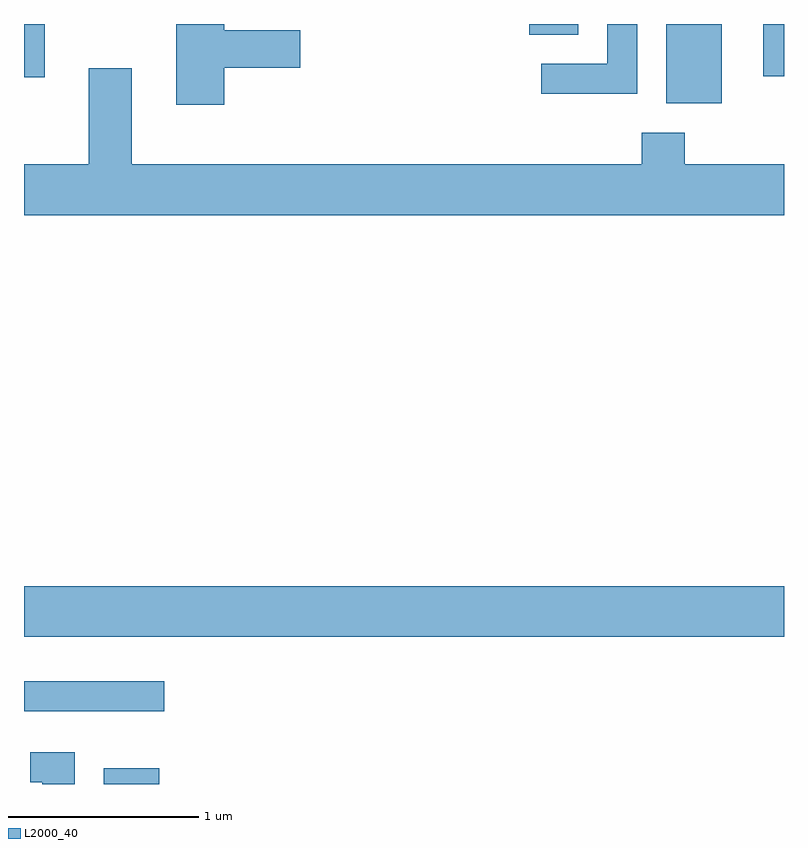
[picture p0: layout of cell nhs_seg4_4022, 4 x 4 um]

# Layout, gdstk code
import gdstk
lib = gdstk.Library(unit=1e-6, precision=1e-09)
def R(c, l, rs):  # rectangles x0, y0, x1, y1
    for r in rs: c.add(gdstk.rectangle(r[:2], r[2:], *l))
def P(c, l, *ps):  # polygons
    for p in ps: c.add(gdstk.Polygon(p, *l))
L2000_40 = (2000, 40)

nhs_seg4_4022 = lib.new_cell('nhs_seg4_4022')
R(nhs_seg4_4022, L2000_40, [(304.031,1273.982,304.324,1274.064), (303.611,1274.366,304.348,1274.524), (303.611,1274.756,307.611,1275.024), (306.991,1277.566,307.284,1277.982), (303.611,1277.701,303.719,1277.982), (307.501,1277.708,307.611,1277.982), (306.271,1277.926,306.529,1277.982)])
P(nhs_seg4_4022, L2000_40, [(304.664,1277.751),(305.064,1277.751),(305.064,1277.949),(304.664,1277.949),(304.664,1277.982),(304.411,1277.982),(304.411,1277.556),(304.664,1277.556)],
  [(306.839,1277.982),(306.681,1277.982),(306.681,1277.774),(306.333,1277.774),(306.333,1277.616),(306.839,1277.616)],
  [(307.611,1277.244),(307.089,1277.244),(307.089,1277.409),(306.861,1277.409),(306.861,1277.244),(304.179,1277.244),(304.179,1277.749),(303.951,1277.749),(303.951,1277.244),(303.611,1277.244),(303.611,1276.976),(307.611,1276.976)],
  [(303.879,1274.149),(303.643,1274.149),(303.643,1273.991),(303.706,1273.991),(303.706,1273.982),(303.879,1273.982)])

lib.write_gds('nhs_seg4_4022.gds')
